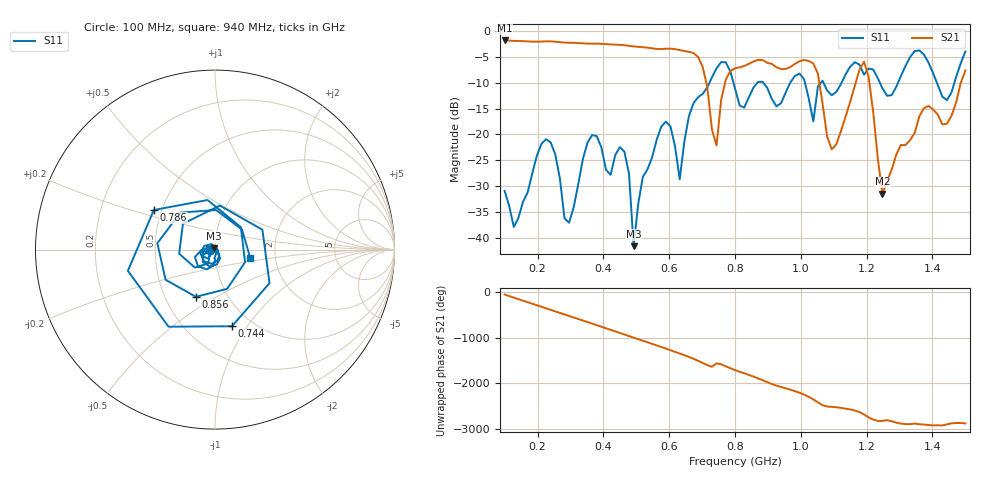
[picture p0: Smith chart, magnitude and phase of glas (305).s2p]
! NanoVNA-App
! Date: 2025-09-25 15:57:51
! Start: 100MHz Stop: 1,5GHz Points: 101
! S-Parameter data: F S11 S21 S12 S22
# Hz S RI R 50
!  Frequency  S11_Real  S11_Imag  S21_Real  S21_Imag  S12_Real  S12_Imag  S22_Real  S22_Imag
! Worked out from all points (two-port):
!   101 points, 100 MHz to 1.5 GHz, reference 50 ohm
!   highest |S21| = -1.80 dB at 100 MHz (marker M1); lowest = -31.5 dB at 1.248 GHz (marker M2)
!   |S21| within 3 dB of the highest: start of sweep to 684.3 MHz
!   lowest |S11| = -41.6 dB at 492 MHz (marker M3), VSWR 1.02, Z = 49.5 + j0.635 ohm
!   |S11| at or under -10 dB: start of sweep to 722.3 MHz; 795.4 MHz to 867.9 MHz (72.52 MHz wide, 8.72 % of centre); 886.3 MHz to 967.7 MHz (81.44 MHz wide, 8.79 % of centre)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
!   S12 and S22 are empty: the file has one direction only
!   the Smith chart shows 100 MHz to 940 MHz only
!   S11 on the Smith chart (normalised r, x): 100 MHz: 0.95, -0.01; 744 MHz: 0.81, -0.85; 786 MHz: 0.45, +0.24; 856 MHz: 0.71, -0.41; 940 MHz: 1.48, -0.14
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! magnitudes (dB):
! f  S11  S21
! 100 MHz  -30.9  -1.8
! 128 MHz  -37.9  -1.9
! 226 MHz  -20.9  -2.0
! 296 MHz  -37.1  -2.2
! 338 MHz  -24.7  -2.4
! 464 MHz  -23.3  -2.7
! 492 MHz  -41.6  -2.9
! 576 MHz  -18.5  -3.5
! 632 MHz  -28.7  -3.7
! 702 MHz  -12.2  -7.0
! 744 MHz  -7.2  -22.1
! 786 MHz  -7.8  -7.7
! 800 MHz  -11.1  -7.2
! 856 MHz  -10.9  -5.9
! 940 MHz  -13.9  -7.4
! 996 MHz  -8.2  -5.8
! 1.038 GHz  -17.5  -6.2
! 1.094 GHz  -12.4  -22.9
! 1.192 GHz  -8.4  -5.9
! 1.248 GHz  -11.1  -31.5
! 1.276 GHz  -12.4  -26.8
! 1.5 GHz  -3.9  -7.6
